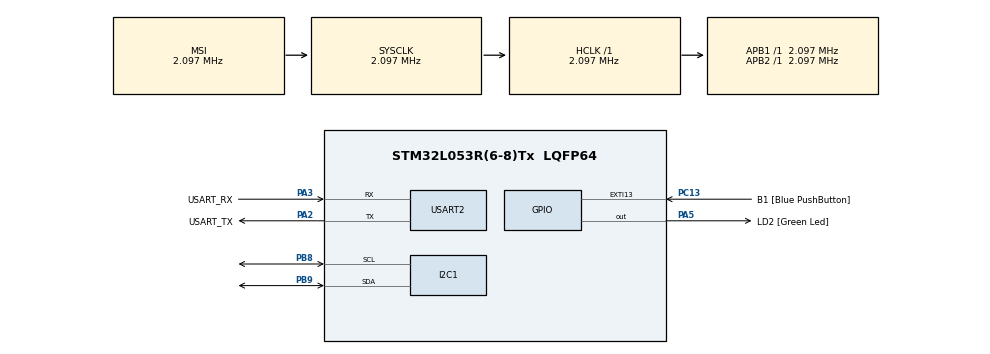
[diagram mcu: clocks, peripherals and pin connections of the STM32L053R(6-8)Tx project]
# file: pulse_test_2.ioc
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Mcu.Family=STM32L0
Mcu.Name=STM32L053R(6-8)Tx
Mcu.Package=LQFP64
PA13.GPIO_Label=TMS
PA13.Mode=Serial_Wire
PA13.Signal=SYS_SWDIO
PA14.GPIO_Label=TCK
PA14.Mode=Serial_Wire
PA14.Signal=SYS_SWCLK
PA2.GPIO_Label=USART_TX
PA2.Mode=Asynchronous
PA2.Signal=USART2_TX
PA3.GPIO_Label=USART_RX
PA3.Mode=Asynchronous
PA3.Signal=USART2_RX
PA5.GPIO_Label=LD2 [Green Led]
PA5.Signal=GPIO_Output
PB8.Mode=I2C
PB8.Signal=I2C1_SCL
PB9.Mode=I2C
PB9.Signal=I2C1_SDA
PC13.GPIO_Label=B1 [Blue PushButton]
PC13.GPIO_ModeDefaultEXTI=GPIO_MODE_IT_FALLING
PC13.Signal=GPXTI13
PC14-OSC32_IN.Mode=LSE-External-Oscillator
PC14-OSC32_IN.Signal=RCC_OSC32_IN
PC15-OSC32_OUT.Mode=LSE-External-Oscillator
PC15-OSC32_OUT.Signal=RCC_OSC32_OUT
PH0-OSC_IN.Mode=HSE-External-Clock-Source
PH0-OSC_IN.Signal=RCC_OSC_IN
PH1-OSC_OUT.Signal=RCC_OSC_OUT
ProjectManager.HeapSize=0x200
ProjectManager.StackSize=0x400
ProjectManager.TargetToolchain=STM32CubeIDE
RCC.AHBFreq_Value=2097000
RCC.APB1Freq_Value=2097000
RCC.APB1TimFreq_Value=2097000
RCC.APB2Freq_Value=2097000
RCC.APB2TimFreq_Value=2097000
RCC.HSE_VALUE=8000000
RCC.HSI16_VALUE=16000000
RCC.HSI48_VALUE=48000000
RCC.HSI_VALUE=16000000
RCC.MSI_VALUE=2097000
RCC.SYSCLKFreq_VALUE=2097000
RCC.VCOOutputFreq_Value=48000000
USART2.VirtualMode-Asynchronous=VM_ASYNC
board=NUCLEO-L053R8

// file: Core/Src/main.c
/* USER CODE BEGIN Header */
/**
  ******************************************************************************
  * @file           : main.c
  * @brief          : Main program body
  ******************************************************************************
  * @attention
  *
  * Copyright (c) 2024 STMicroelectronics.
  * All rights reserved.
  *
  * This software is licensed under terms that can be found in the LICENSE file
  * in the root directory of this software component.
  * If no LICENSE file comes with this software, it is provided AS-IS.
  *
  ******************************************************************************
  */
/* USER CODE END Header */
#include "main.h"
#include "i2c.h"
#include "usart.h"
#include "gpio.h"
#include <stdio.h>
#include <string.h>

/* USER CODE BEGIN PD */

#define MAX30102_ADDRESS          0x57 << 1
#define REG_INTR_ENABLE_1         0x02
#define REG_INTR_ENABLE_2         0x03
#define REG_FIFO_WR_PTR           0x04
#define REG_OVF_COUNTER           0x05
#define REG_FIFO_RD_PTR           0x06
#define REG_FIFO_DATA             0x07
#define REG_FIFO_CONFIG           0x08
#define REG_MODE_CONFIG           0x09
#define REG_SPO2_CONFIG           0x0A
#define REG_LED1_PA               0x0C
#define REG_LED2_PA               0x0D

#define MODE_HEART_RATE           0x02
#define BUFFER_SIZE 100
#define THRESHOLD 5000 //

//#define BUFFER_SIZE 100
#define MA_FILTER_SIZE 5

uint32_t red_buffer[BUFFER_SIZE];
//uint32_t ma_buffer[MA_FILTER_SIZE];
uint32_t buffer_index = 0;
uint32_t ma_index = 0;
uint32_t ma_sum = 0;

uint32_t ma_buffer[MA_FILTER_SIZE] = {0};
//uint32_t ma_index = 0;
//uint32_t ma_sum = 0;
/* USER CODE END PD */

/* USER CODE BEGIN PV */
void MAX30102_Init(void) {
    uint8_t data[2];

    // Reset the sensor
    data[0] = REG_MODE_CONFIG;
    data[1] = 0x40;
    HAL_I2C_Master_Transmit(&hi2c1, MAX30102_ADDRESS, data, 2, HAL_MAX_DELAY);
    HAL_Delay(10);

    // Enable the interrupt
    data[0] = REG_INTR_ENABLE_1;
    data[1] = 0xC0;
    HAL_I2C_Master_Transmit(&hi2c1, MAX30102_ADDRESS, data, 2, HAL_MAX_DELAY);

    // FIFO Configuration
    data[0] = REG_FIFO_CONFIG;
    data[1] = 0x0F;
    HAL_I2C_Master_Transmit(&hi2c1, MAX30102_ADDRESS, data, 2, HAL_MAX_DELAY);

    // Mode Configuration
    data[0] = REG_MODE_CONFIG;
    data[1] = MODE_HEART_RATE;
    HAL_I2C_Master_Transmit(&hi2c1, MAX30102_ADDRESS, data, 2, HAL_MAX_DELAY);

    // SPO2 Configuration
    data[0] = REG_SPO2_CONFIG;
    data[1] = 0x27;
    HAL_I2C_Master_Transmit(&hi2c1, MAX30102_ADDRESS, data, 2, HAL_MAX_DELAY);

    // LED Pulse Amplitude
    data[0] = REG_LED1_PA;
    data[1] = 0x24;
    HAL_I2C_Master_Transmit(&hi2c1, MAX30102_ADDRESS, data, 2, HAL_MAX_DELAY);
}

uint32_t MovingAverage(uint32_t new_value) {
    ma_sum -= ma_buffer[ma_index];
    ma_sum += new_value;
    ma_buffer[ma_index] = new_value;
    ma_index = (ma_index + 1) % MA_FILTER_SIZE;

    return ma_sum / MA_FILTER_SIZE;
}

//uint32_t red_buffer[BUFFER_SIZE];
//uint32_t buffer_index = 0;

// Read raw data from MAX30102
void MAX30102_ReadFIFO(uint32_t *red_led) {
    uint8_t data[6];
    HAL_I2C_Mem_Read(&hi2c1, MAX30102_ADDRESS, REG_FIFO_DATA, I2C_MEMADD_SIZE_8BIT, data, 6, HAL_MAX_DELAY);

    *red_led = (data[0] << 16) | (data[1] << 8) | data[2];
    *red_led &= 0x03FFFF;  // Mask to 18 bits
}

void CalculateHeartRate(void) {
    static uint32_t last_beat = 0;
    static uint32_t beats = 0;
    static uint32_t last_value = 0;
    uint32_t current_time = HAL_GetTick();
    uint32_t time_diff;
    float bpm;

    // Read new data
    MAX30102_ReadFIFO(&red_buffer[buffer_index]);
    uint32_t current_value = MovingAverage(red_buffer[buffer_index]);

    // Peak detection logic
    if (current_value > THRESHOLD && current_value > last_value) {
        if (current_time - last_beat > 700) { // period to avoid multiple detections per beat
            beats++;
            last_beat = current_time;
        }
    }

    // Calculate heart rate every 10 seconds
    if (current_time - last_beat >= 10000) {
        time_diff = current_time - last_beat;
        bpm = (beats / (time_diff / 60000.0)); // Calculate BPM
        beats = 0; // Reset beat count

        // Print BPM
        char msg[64];
        sprintf(msg, "Heart Rate: %.2f bpm\r\n", bpm);
        HAL_UART_Transmit(&huart2, (uint8_t*)msg, strlen(msg), HAL_MAX_DELAY);

        last_beat = current_time;
    }

    last_value = current_value;
    buffer_index = (buffer_index + 1) % BUFFER_SIZE;
}

/* USER CODE END PV */

void SystemClock_Config(void);

int main(void)
{

  /* MCU Configuration--------------------------------------------------------*/

  /* Reset of all peripherals, Initializes the Flash interface and the Systick. */
  HAL_Init();

  /* Configure the system clock */
  SystemClock_Config();

  /* Initialize all configured peripherals */
  MX_GPIO_Init();
  MX_USART2_UART_Init();
  MX_I2C1_Init();
  /* USER CODE BEGIN 2 */
  MAX30102_Init();
  /* USER CODE END 2 */
  //printf("System Initialized.\r\n");

  /* Infinite loop */
  while (1)
  {
	  CalculateHeartRate();
	  HAL_Delay(100);

  }
}

void SystemClock_Config(void)
{
  RCC_OscInitTypeDef RCC_OscInitStruct = {0};
  RCC_ClkInitTypeDef RCC_ClkInitStruct = {0};
  RCC_PeriphCLKInitTypeDef PeriphClkInit = {0};

  /** Configure the main internal regulator output voltage
  */
  __HAL_PWR_VOLTAGESCALING_CONFIG(PWR_REGULATOR_VOLTAGE_SCALE1);

  /** Initializes the RCC Oscillators according to the specified parameters
  * in the RCC_OscInitTypeDef structure.
  */
  RCC_OscInitStruct.OscillatorType = RCC_OSCILLATORTYPE_MSI;
  RCC_OscInitStruct.MSIState = RCC_MSI_ON;
  RCC_OscInitStruct.MSICalibrationValue = 0;
  RCC_OscInitStruct.MSIClockRange = RCC_MSIRANGE_5;
  RCC_OscInitStruct.PLL.PLLState = RCC_PLL_NONE;
  if (HAL_RCC_OscConfig(&RCC_OscInitStruct) != HAL_OK)
  {
    Error_Handler();
  }

  /** Initializes the CPU, AHB and APB buses clocks
  */
  RCC_ClkInitStruct.ClockType = RCC_CLOCKTYPE_HCLK|RCC_CLOCKTYPE_SYSCLK
                              |RCC_CLOCKTYPE_PCLK1|RCC_CLOCKTYPE_PCLK2;
  RCC_ClkInitStruct.SYSCLKSource = RCC_SYSCLKSOURCE_MSI;
  RCC_ClkInitStruct.AHBCLKDivider = RCC_SYSCLK_DIV1;
  RCC_ClkInitStruct.APB1CLKDivider = RCC_HCLK_DIV1;
  RCC_ClkInitStruct.APB2CLKDivider = RCC_HCLK_DIV1;

  if (HAL_RCC_ClockConfig(&RCC_ClkInitStruct, FLASH_LATENCY_0) != HAL_OK)
  {
    Error_Handler();
  }
  PeriphClkInit.PeriphClockSelection = RCC_PERIPHCLK_USART2|RCC_PERIPHCLK_I2C1;
  PeriphClkInit.Usart2ClockSelection = RCC_USART2CLKSOURCE_PCLK1;
  PeriphClkInit.I2c1ClockSelection = RCC_I2C1CLKSOURCE_PCLK1;
  if (HAL_RCCEx_PeriphCLKConfig(&PeriphClkInit) != HAL_OK)
  {
    Error_Handler();
  }
}

void Error_Handler(void)
{
  __disable_irq();
  while (1)
  {
  }
}
